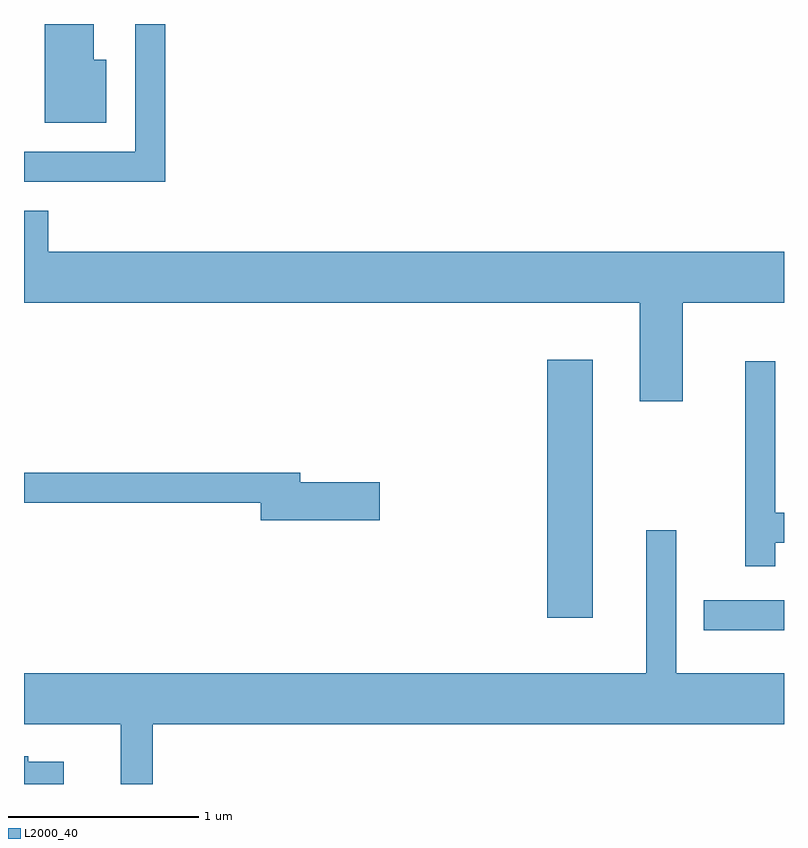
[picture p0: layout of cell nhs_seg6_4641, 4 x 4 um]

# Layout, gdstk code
import gdstk
lib = gdstk.Library(unit=1e-6, precision=1e-09)
def R(c, l, rs):  # rectangles x0, y0, x1, y1
    for r in rs: c.add(gdstk.rectangle(r[:2], r[2:], *l))
def P(c, l, *ps):  # polygons
    for p in ps: c.add(gdstk.Polygon(p, *l))
L2000_40 = (2000, 40)

nhs_seg6_4641 = lib.new_cell('nhs_seg6_4641')
R(nhs_seg6_4641, L2000_40, [(331.188,1554.971,331.611,1555.129), (330.366,1555.036,330.604,1556.394)])
P(nhs_seg6_4641, L2000_40, [(328.354,1558.162),(328.196,1558.162),(328.196,1557.489),(327.611,1557.489),(327.611,1557.331),(328.354,1557.331)],
  [(328.044,1557.974),(327.979,1557.974),(327.979,1558.162),(327.721,1558.162),(327.721,1557.641),(328.044,1557.641)],
  [(331.079,1556.696),(331.611,1556.696),(331.611,1556.964),(327.739,1556.964),(327.739,1557.179),(327.611,1557.179),(327.611,1556.696),(330.851,1556.696),(330.851,1556.176),(331.079,1556.176)],
  [(331.564,1555.431),(331.611,1555.431),(331.611,1555.589),(331.564,1555.589),(331.564,1556.388),(331.406,1556.388),(331.406,1555.308),(331.564,1555.308)],
  [(329.484,1555.749),(329.064,1555.749),(329.064,1555.799),(327.611,1555.799),(327.611,1555.641),(328.856,1555.641),(328.856,1555.551),(329.484,1555.551)],
  [(328.289,1554.476),(331.611,1554.476),(331.611,1554.744),(331.044,1554.744),(331.044,1555.498),(330.886,1555.498),(330.886,1554.744),(327.611,1554.744),(327.611,1554.476),(328.121,1554.476),(328.121,1554.162),(328.289,1554.162)],
  [(327.819,1554.279),(327.634,1554.279),(327.634,1554.309),(327.611,1554.309),(327.611,1554.162),(327.819,1554.162)])

lib.write_gds('nhs_seg6_4641.gds')
